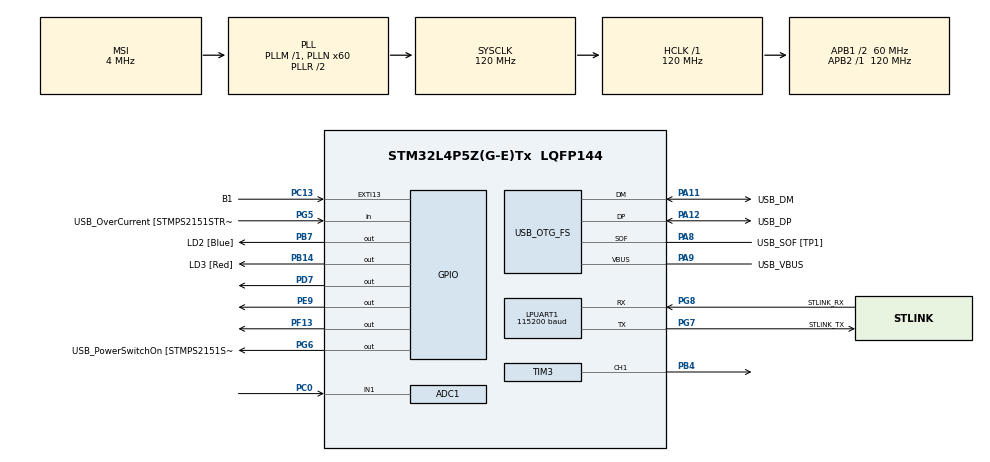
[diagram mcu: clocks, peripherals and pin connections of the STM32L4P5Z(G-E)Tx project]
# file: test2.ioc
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ADC1.Channel-0\#ChannelRegularConversion=ADC_CHANNEL_1
ADC1.NbrOfConversionFlag=1
ADC1.OffsetNumber-0\#ChannelRegularConversion=ADC_OFFSET_NONE
ADC1.Rank-0\#ChannelRegularConversion=1
ADC1.SamplingTime-0\#ChannelRegularConversion=ADC_SAMPLETIME_2CYCLES_5
ADC1.master=1
FREERTOS.Tasks01=Read_Temp,32,128,ReadTemp,Default,NULL,Dynamic,NULL,NULL;Control_Motor,24,128,ControlMotor,Default,NULL,Dynamic,NULL,NULL;Control_Temp,24,128,ControlTemp,Default,NULL,Dynamic,NULL,NULL
FREERTOS.configUSE_NEWLIB_REENTRANT=1
LPUART1.BaudRate=115200
LPUART1.WordLength=UART_WORDLENGTH_8B
Mcu.Family=STM32L4
Mcu.Name=STM32L4P5Z(G-E)Tx
Mcu.Package=LQFP144
NVIC.PriorityGroup=NVIC_PRIORITYGROUP_4
NVIC.TIM6_DAC_IRQn=true\:15\:0\:false\:false\:true\:false\:false\:true\:true
NVIC.TimeBase=TIM6_DAC_IRQn
NVIC.TimeBaseIP=TIM6
PA10.GPIO_Label=USB_ID
PA10.Signal=USB_OTG_FS_ID
PA11.GPIO_Label=USB_DM
PA11.Mode=Device_Only
PA11.Signal=USB_OTG_FS_DM
PA12.GPIO_Label=USB_DP
PA12.Mode=Device_Only
PA12.Signal=USB_OTG_FS_DP
PA13\ (JTMS/SWDIO).GPIO_Label=TMS
PA13\ (JTMS/SWDIO).Mode=Trace_Asynchronous_SW
PA13\ (JTMS/SWDIO).Signal=SYS_JTMS-SWDIO
PA14\ (JTCK/SWCLK).GPIO_Label=TCK
PA14\ (JTCK/SWCLK).Mode=Trace_Asynchronous_SW
PA14\ (JTCK/SWCLK).Signal=SYS_JTCK-SWCLK
PA8.GPIO_Label=USB_SOF [TP1]
PA8.Mode=Activate_SOF_FS
PA8.Signal=USB_OTG_FS_SOF
PA9.GPIO_Label=USB_VBUS
PA9.Mode=Activate_VBUS
PA9.Signal=USB_OTG_FS_VBUS
PB14.GPIO_Label=LD3 [Red]
PB14.Signal=GPIO_Output
PB3\ (JTDO/TRACESWO).GPIO_Label=SWO
PB3\ (JTDO/TRACESWO).Mode=Trace_Asynchronous_SW
PB3\ (JTDO/TRACESWO).Signal=SYS_JTDO-SWO
PB4\ (NJTRST).Signal=S_TIM3_CH1
PB7.GPIO_Label=LD2 [Blue]
PB7.Signal=GPIO_Output
PC0.Signal=ADCx_IN1
PC13.GPIO_Label=B1
PC13.Signal=GPXTI13
PC14-OSC32_IN\ (PC14).Mode=LSE-External-Oscillator
PC14-OSC32_IN\ (PC14).Signal=RCC_OSC32_IN
PC15-OSC32_OUT\ (PC15).Mode=LSE-External-Oscillator
PC15-OSC32_OUT\ (PC15).Signal=RCC_OSC32_OUT
PD7.Signal=GPIO_Output
PE9.Signal=GPIO_Output
PF13.Signal=GPIO_Output
PG5.GPIO_Label=USB_OverCurrent [STMPS2151STR_FAULT]
PG5.Signal=GPIO_Input
PG6.GPIO_Label=USB_PowerSwitchOn [STMPS2151STR_En]
PG6.Signal=GPIO_Output
PG7.GPIO_Label=STLINK_TX
PG7.Mode=Asynchronous
PG7.Signal=LPUART1_TX
PG8.GPIO_Label=STLINK_RX
PG8.Mode=Asynchronous
PG8.Signal=LPUART1_RX
PH0-OSC_IN\ (PH0).Mode=HSE-External-Clock-Source
PH0-OSC_IN\ (PH0).Signal=RCC_OSC_IN
PH1-OSC_OUT\ (PH1).Signal=RCC_OSC_OUT
ProjectManager.HeapSize=0x200
ProjectManager.StackSize=0x400
ProjectManager.TargetToolchain=STM32CubeIDE
RCC.48MHZClocksFreq_Value=24000000
RCC.ADCFreq_Value=48000000
RCC.AHBFreq_Value=120000000
RCC.APB1CLKDivider=RCC_HCLK_DIV2
RCC.APB1Freq_Value=60000000
RCC.APB1TimFreq_Value=120000000
RCC.APB2Freq_Value=120000000
RCC.APB2TimFreq_Value=120000000
RCC.CortexFreq_Value=120000000
RCC.HCLKFreq_Value=120000000
RCC.HSE_VALUE=8000000
RCC.HSI48_VALUE=48000000
RCC.HSI_VALUE=16000000
RCC.MSI_VALUE=4000000
RCC.PLLMUL=RCC_PLL_MUL9
RCC.PLLN=60
RCC.PLLSAI1N=24
RCC.PRESCALERUSB=RCC_USBCLKSOURCE_PLL_DIV1_5
RCC.SYSCLKFreq_VALUE=120000000
RCC.SYSCLKSource=RCC_SYSCLKSOURCE_PLLCLK
RCC.SYSCLKSourceVirtual=RCC_SYSCLKSOURCE_PLLCLK
RCC.USBFreq_Value=48000000
RCC.VCOOutputFreq_Value=240000000
SH.ADCx_IN1.0=ADC1_IN1,IN1-Single-Ended
SH.S_TIM3_CH1.0=TIM3_CH1,PWM Generation1 CH1
TIM3.Channel-PWM\ Generation1\ CH1=TIM_CHANNEL_1
TIM3.Period=99
TIM3.Prescaler=119
TIM4.Prescaler=119
USB_OTG_FS.VirtualMode=Device_Only
VP_FREERTOS_VS_CMSIS_V2.Mode=CMSIS_V2
VP_SYS_VS_tim6.Mode=TIM6
VP_TIM4_VS_ClockSourceINT.Mode=Internal
board=NUCLEO-L4P5ZG

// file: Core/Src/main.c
/* USER CODE BEGIN Header */
/**
  ******************************************************************************
  * @file           : main.c
  * @brief          : Main program body
  ******************************************************************************
  * @attention
  *
  * Copyright (c) 2022 STMicroelectronics.
  * All rights reserved.
  *
  * This software is licensed under terms that can be found in the LICENSE file
  * in the root directory of this software component.
  * If no LICENSE file comes with this software, it is provided AS-IS.
  *
  ******************************************************************************
  */
/* USER CODE END Header */
#include "main.h"
#include "cmsis_os.h"

ADC_HandleTypeDef hadc1;

UART_HandleTypeDef hlpuart1;

TIM_HandleTypeDef htim3;
TIM_HandleTypeDef htim4;

PCD_HandleTypeDef hpcd_USB_OTG_FS;

/* Definitions for Read_Temp */
osThreadId_t Read_TempHandle;
const osThreadAttr_t Read_Temp_attributes = {
  .name = "Read_Temp",
  .stack_size = 128 * 4,
  .priority = (osPriority_t) osPriorityAboveNormal,
};
/* Definitions for Control_Motor */
osThreadId_t Control_MotorHandle;
const osThreadAttr_t Control_Motor_attributes = {
  .name = "Control_Motor",
  .stack_size = 128 * 4,
  .priority = (osPriority_t) osPriorityNormal,
};
/* Definitions for Control_Temp */
osThreadId_t Control_TempHandle;
const osThreadAttr_t Control_Temp_attributes = {
  .name = "Control_Temp",
  .stack_size = 128 * 4,
  .priority = (osPriority_t) osPriorityNormal,
};
/* USER CODE BEGIN PV */
uint16_t raw;
double temp;
char msg[10];
/* USER CODE END PV */

void SystemClock_Config(void);
void PeriphCommonClock_Config(void);
static void MX_GPIO_Init(void);
static void MX_LPUART1_UART_Init(void);
static void MX_USB_OTG_FS_PCD_Init(void);
static void MX_ADC1_Init(void);
static void MX_TIM3_Init(void);
static void MX_TIM4_Init(void);
void ReadTemp(void *argument);
void ControlMotor(void *argument);
void ControlTemp(void *argument);

int main(void)
{

  /* MCU Configuration--------------------------------------------------------*/

  /* Reset of all peripherals, Initializes the Flash interface and the Systick. */
  HAL_Init();

  /* Configure the system clock */
  SystemClock_Config();

/* Configure the peripherals common clocks */
  PeriphCommonClock_Config();

  /* Initialize all configured peripherals */
  MX_GPIO_Init();
  MX_LPUART1_UART_Init();
  MX_USB_OTG_FS_PCD_Init();
  MX_ADC1_Init();
  MX_TIM3_Init();
  MX_TIM4_Init();
  /* USER CODE BEGIN 2 */
  HAL_TIM_PWM_Start(&htim4, TIM_CHANNEL_1);
  HAL_TIM_PWM_Start(&htim3, TIM_CHANNEL_1);
  /* USER CODE END 2 */

  /* Init scheduler */
  osKernelInitialize();

  /* Create the thread(s) */
  /* creation of Read_Temp */
  Read_TempHandle = osThreadNew(ReadTemp, NULL, &Read_Temp_attributes);

  /* creation of Control_Motor */
  Control_MotorHandle = osThreadNew(ControlMotor, NULL, &Control_Motor_attributes);

  /* creation of Control_Temp */
  Control_TempHandle = osThreadNew(ControlTemp, NULL, &Control_Temp_attributes);

  /* Start scheduler */
  osKernelStart();

  /* We should never get here as control is now taken by the scheduler */
  /* Infinite loop */
  /* USER CODE BEGIN WHILE */
	while (1)
	{
		HAL_GPIO_TogglePin(GPIOB, GPIO_PIN_14);
		HAL_Delay(100);
		 double val, resistance, A,B,C;
			  A = 0.000732;
			  B = 0.000214;
			  C = 1.07E-07;
			  HAL_ADC_Start(&hadc1);
				HAL_ADC_PollForConversion(&hadc1, HAL_MAX_DELAY);
				raw = HAL_ADC_GetValue(&hadc1);
				val= (3.3/4096)*raw;
				resistance = val/((3.3-val)/100000);
				temp = 1/(A+B*log(resistance)+C*pow(log(resistance),3))-272.15;
				sprintf(msg, "% hu, %f , %f\r\n", raw, temp, resistance);
						HAL_UART_Transmit(&hlpuart1, (uint8_t*)msg, strlen(msg), HAL_MAX_DELAY);
		/* Infinite loop */

		//

    /* USER CODE END WHILE */

  }
}

void SystemClock_Config(void)
{
  RCC_OscInitTypeDef RCC_OscInitStruct = {0};
  RCC_ClkInitTypeDef RCC_ClkInitStruct = {0};

  /** Configure the main internal regulator output voltage
  */
  if (HAL_PWREx_ControlVoltageScaling(PWR_REGULATOR_VOLTAGE_SCALE1_BOOST) != HAL_OK)
  {
    Error_Handler();
  }

  /** Configure LSE Drive Capability
  */
  HAL_PWR_EnableBkUpAccess();
  __HAL_RCC_LSEDRIVE_CONFIG(RCC_LSEDRIVE_LOW);

  /** Initializes the RCC Oscillators according to the specified parameters
  * in the RCC_OscInitTypeDef structure.
  */
  RCC_OscInitStruct.OscillatorType = RCC_OSCILLATORTYPE_LSE|RCC_OSCILLATORTYPE_MSI;
  RCC_OscInitStruct.LSEState = RCC_LSE_ON;
  RCC_OscInitStruct.MSIState = RCC_MSI_ON;
  RCC_OscInitStruct.MSICalibrationValue = 0;
  RCC_OscInitStruct.MSIClockRange = RCC_MSIRANGE_6;
  RCC_OscInitStruct.PLL.PLLState = RCC_PLL_ON;
  RCC_OscInitStruct.PLL.PLLSource = RCC_PLLSOURCE_MSI;
  RCC_OscInitStruct.PLL.PLLM = 1;
  RCC_OscInitStruct.PLL.PLLN = 60;
  RCC_OscInitStruct.PLL.PLLP = RCC_PLLP_DIV2;
  RCC_OscInitStruct.PLL.PLLQ = RCC_PLLQ_DIV2;
  RCC_OscInitStruct.PLL.PLLR = RCC_PLLR_DIV2;
  if (HAL_RCC_OscConfig(&RCC_OscInitStruct) != HAL_OK)
  {
    Error_Handler();
  }

  /** Initializes the CPU, AHB and APB buses clocks
  */
  RCC_ClkInitStruct.ClockType = RCC_CLOCKTYPE_HCLK|RCC_CLOCKTYPE_SYSCLK
                              |RCC_CLOCKTYPE_PCLK1|RCC_CLOCKTYPE_PCLK2;
  RCC_ClkInitStruct.SYSCLKSource = RCC_SYSCLKSOURCE_PLLCLK;
  RCC_ClkInitStruct.AHBCLKDivider = RCC_SYSCLK_DIV1;
  RCC_ClkInitStruct.APB1CLKDivider = RCC_HCLK_DIV2;
  RCC_ClkInitStruct.APB2CLKDivider = RCC_HCLK_DIV1;

  if (HAL_RCC_ClockConfig(&RCC_ClkInitStruct, FLASH_LATENCY_5) != HAL_OK)
  {
    Error_Handler();
  }

  /** Enable MSI Auto calibration
  */
  HAL_RCCEx_EnableMSIPLLMode();
}

void PeriphCommonClock_Config(void)
{
  RCC_PeriphCLKInitTypeDef PeriphClkInit = {0};

  /** Initializes the peripherals clock
  */
  PeriphClkInit.PeriphClockSelection = RCC_PERIPHCLK_USB|RCC_PERIPHCLK_ADC;
  PeriphClkInit.AdcClockSelection = RCC_ADCCLKSOURCE_PLLSAI1;
  PeriphClkInit.UsbClockSelection = RCC_USBCLKSOURCE_PLLSAI1;
  PeriphClkInit.PLLSAI1.PLLSAI1Source = RCC_PLLSOURCE_MSI;
  PeriphClkInit.PLLSAI1.PLLSAI1M = 1;
  PeriphClkInit.PLLSAI1.PLLSAI1N = 24;
  PeriphClkInit.PLLSAI1.PLLSAI1P = RCC_PLLP_DIV2;
  PeriphClkInit.PLLSAI1.PLLSAI1Q = RCC_PLLQ_DIV2;
  PeriphClkInit.PLLSAI1.PLLSAI1R = RCC_PLLR_DIV2;
  PeriphClkInit.PLLSAI1.PLLSAI1ClockOut = RCC_PLLSAI1_48M2CLK|RCC_PLLSAI1_ADC1CLK;
  if (HAL_RCCEx_PeriphCLKConfig(&PeriphClkInit) != HAL_OK)
  {
    Error_Handler();
  }
}

static void MX_ADC1_Init(void)
{

  ADC_MultiModeTypeDef multimode = {0};
  ADC_ChannelConfTypeDef sConfig = {0};

  /** Common config
  */
  hadc1.Instance = ADC1;
  hadc1.Init.ClockPrescaler = ADC_CLOCK_ASYNC_DIV1;
  hadc1.Init.Resolution = ADC_RESOLUTION_12B;
  hadc1.Init.DataAlign = ADC_DATAALIGN_RIGHT;
  hadc1.Init.ScanConvMode = ADC_SCAN_DISABLE;
  hadc1.Init.EOCSelection = ADC_EOC_SINGLE_CONV;
  hadc1.Init.LowPowerAutoWait = DISABLE;
  hadc1.Init.ContinuousConvMode = DISABLE;
  hadc1.Init.NbrOfConversion = 1;
  hadc1.Init.DiscontinuousConvMode = DISABLE;
  hadc1.Init.ExternalTrigConv = ADC_SOFTWARE_START;
  hadc1.Init.ExternalTrigConvEdge = ADC_EXTERNALTRIGCONVEDGE_NONE;
  hadc1.Init.DMAContinuousRequests = DISABLE;
  hadc1.Init.Overrun = ADC_OVR_DATA_PRESERVED;
  hadc1.Init.OversamplingMode = DISABLE;
  if (HAL_ADC_Init(&hadc1) != HAL_OK)
  {
    Error_Handler();
  }

  /** Configure the ADC multi-mode
  */
  multimode.Mode = ADC_MODE_INDEPENDENT;
  if (HAL_ADCEx_MultiModeConfigChannel(&hadc1, &multimode) != HAL_OK)
  {
    Error_Handler();
  }

  /** Configure Regular Channel
  */
  sConfig.Channel = ADC_CHANNEL_1;
  sConfig.Rank = ADC_REGULAR_RANK_1;
  sConfig.SamplingTime = ADC_SAMPLETIME_2CYCLES_5;
  sConfig.SingleDiff = ADC_SINGLE_ENDED;
  sConfig.OffsetNumber = ADC_OFFSET_NONE;
  sConfig.Offset = 0;
  if (HAL_ADC_ConfigChannel(&hadc1, &sConfig) != HAL_OK)
  {
    Error_Handler();
  }

}

static void MX_LPUART1_UART_Init(void)
{

  hlpuart1.Instance = LPUART1;
  hlpuart1.Init.BaudRate = 115200;
  hlpuart1.Init.WordLength = UART_WORDLENGTH_8B;
  hlpuart1.Init.StopBits = UART_STOPBITS_1;
  hlpuart1.Init.Parity = UART_PARITY_NONE;
  hlpuart1.Init.Mode = UART_MODE_TX_RX;
  hlpuart1.Init.HwFlowCtl = UART_HWCONTROL_NONE;
  hlpuart1.Init.OneBitSampling = UART_ONE_BIT_SAMPLE_DISABLE;
  hlpuart1.Init.ClockPrescaler = UART_PRESCALER_DIV1;
  hlpuart1.AdvancedInit.AdvFeatureInit = UART_ADVFEATURE_NO_INIT;
  hlpuart1.FifoMode = UART_FIFOMODE_DISABLE;
  if (HAL_UART_Init(&hlpuart1) != HAL_OK)
  {
    Error_Handler();
  }
  if (HAL_UARTEx_SetTxFifoThreshold(&hlpuart1, UART_TXFIFO_THRESHOLD_1_8) != HAL_OK)
  {
    Error_Handler();
  }
  if (HAL_UARTEx_SetRxFifoThreshold(&hlpuart1, UART_RXFIFO_THRESHOLD_1_8) != HAL_OK)
  {
    Error_Handler();
  }
  if (HAL_UARTEx_DisableFifoMode(&hlpuart1) != HAL_OK)
  {
    Error_Handler();
  }

}

static void MX_TIM3_Init(void)
{

  TIM_MasterConfigTypeDef sMasterConfig = {0};
  TIM_OC_InitTypeDef sConfigOC = {0};

  htim3.Instance = TIM3;
  htim3.Init.Prescaler = 119;
  htim3.Init.CounterMode = TIM_COUNTERMODE_UP;
  htim3.Init.Period = 99;
  htim3.Init.ClockDivision = TIM_CLOCKDIVISION_DIV1;
  htim3.Init.AutoReloadPreload = TIM_AUTORELOAD_PRELOAD_DISABLE;
  if (HAL_TIM_PWM_Init(&htim3) != HAL_OK)
  {
    Error_Handler();
  }
  sMasterConfig.MasterOutputTrigger = TIM_TRGO_RESET;
  sMasterConfig.MasterSlaveMode = TIM_MASTERSLAVEMODE_DISABLE;
  if (HAL_TIMEx_MasterConfigSynchronization(&htim3, &sMasterConfig) != HAL_OK)
  {
    Error_Handler();
  }
  sConfigOC.OCMode = TIM_OCMODE_PWM1;
  sConfigOC.Pulse = 0;
  sConfigOC.OCPolarity = TIM_OCPOLARITY_HIGH;
  sConfigOC.OCFastMode = TIM_OCFAST_DISABLE;
  if (HAL_TIM_PWM_ConfigChannel(&htim3, &sConfigOC, TIM_CHANNEL_1) != HAL_OK)
  {
    Error_Handler();
  }
  HAL_TIM_MspPostInit(&htim3);

}

static void MX_TIM4_Init(void)
{

  TIM_ClockConfigTypeDef sClockSourceConfig = {0};
  TIM_MasterConfigTypeDef sMasterConfig = {0};

  htim4.Instance = TIM4;
  htim4.Init.Prescaler = 119;
  htim4.Init.CounterMode = TIM_COUNTERMODE_UP;
  htim4.Init.Period = 65535;
  htim4.Init.ClockDivision = TIM_CLOCKDIVISION_DIV1;
  htim4.Init.AutoReloadPreload = TIM_AUTORELOAD_PRELOAD_DISABLE;
  if (HAL_TIM_Base_Init(&htim4) != HAL_OK)
  {
    Error_Handler();
  }
  sClockSourceConfig.ClockSource = TIM_CLOCKSOURCE_INTERNAL;
  if (HAL_TIM_ConfigClockSource(&htim4, &sClockSourceConfig) != HAL_OK)
  {
    Error_Handler();
  }
  sMasterConfig.MasterOutputTrigger = TIM_TRGO_RESET;
  sMasterConfig.MasterSlaveMode = TIM_MASTERSLAVEMODE_DISABLE;
  if (HAL_TIMEx_MasterConfigSynchronization(&htim4, &sMasterConfig) != HAL_OK)
  {
    Error_Handler();
  }

}

static void MX_USB_OTG_FS_PCD_Init(void)
{

  hpcd_USB_OTG_FS.Instance = USB_OTG_FS;
  hpcd_USB_OTG_FS.Init.dev_endpoints = 6;
  hpcd_USB_OTG_FS.Init.phy_itface = PCD_PHY_EMBEDDED;
  hpcd_USB_OTG_FS.Init.Sof_enable = ENABLE;
  hpcd_USB_OTG_FS.Init.low_power_enable = DISABLE;
  hpcd_USB_OTG_FS.Init.lpm_enable = DISABLE;
  hpcd_USB_OTG_FS.Init.battery_charging_enable = ENABLE;
  hpcd_USB_OTG_FS.Init.use_dedicated_ep1 = DISABLE;
  hpcd_USB_OTG_FS.Init.vbus_sensing_enable = ENABLE;
  if (HAL_PCD_Init(&hpcd_USB_OTG_FS) != HAL_OK)
  {
    Error_Handler();
  }

}

static void MX_GPIO_Init(void)
{
  GPIO_InitTypeDef GPIO_InitStruct = {0};

  /* GPIO Ports Clock Enable */
  __HAL_RCC_GPIOC_CLK_ENABLE();
  __HAL_RCC_GPIOH_CLK_ENABLE();
  __HAL_RCC_GPIOF_CLK_ENABLE();
  __HAL_RCC_GPIOE_CLK_ENABLE();
  __HAL_RCC_GPIOB_CLK_ENABLE();
  __HAL_RCC_GPIOG_CLK_ENABLE();
  HAL_PWREx_EnableVddIO2();
  __HAL_RCC_GPIOA_CLK_ENABLE();
  __HAL_RCC_GPIOD_CLK_ENABLE();

  /*Configure GPIO pin Output Level */
  HAL_GPIO_WritePin(GPIOF, GPIO_PIN_13, GPIO_PIN_RESET);

  /*Configure GPIO pin Output Level */
  HAL_GPIO_WritePin(GPIOE, GPIO_PIN_9, GPIO_PIN_RESET);

  /*Configure GPIO pin Output Level */
  HAL_GPIO_WritePin(GPIOB, LD3_Pin|LD2_Pin, GPIO_PIN_RESET);

  /*Configure GPIO pin Output Level */
  HAL_GPIO_WritePin(USB_PowerSwitchOn_GPIO_Port, USB_PowerSwitchOn_Pin, GPIO_PIN_RESET);

  /*Configure GPIO pin Output Level */
  HAL_GPIO_WritePin(GPIOD, GPIO_PIN_7, GPIO_PIN_RESET);

  /*Configure GPIO pin : B1_Pin */
  GPIO_InitStruct.Pin = B1_Pin;
  GPIO_InitStruct.Mode = GPIO_MODE_IT_RISING;
  GPIO_InitStruct.Pull = GPIO_NOPULL;
  HAL_GPIO_Init(B1_GPIO_Port, &GPIO_InitStruct);

  /*Configure GPIO pin : PF13 */
  GPIO_InitStruct.Pin = GPIO_PIN_13;
  GPIO_InitStruct.Mode = GPIO_MODE_OUTPUT_PP;
  GPIO_InitStruct.Pull = GPIO_NOPULL;
  GPIO_InitStruct.Speed = GPIO_SPEED_FREQ_LOW;
  HAL_GPIO_Init(GPIOF, &GPIO_InitStruct);

  /*Configure GPIO pin : PE9 */
  GPIO_InitStruct.Pin = GPIO_PIN_9;
  GPIO_InitStruct.Mode = GPIO_MODE_OUTPUT_PP;
  GPIO_InitStruct.Pull = GPIO_NOPULL;
  GPIO_InitStruct.Speed = GPIO_SPEED_FREQ_LOW;
  HAL_GPIO_Init(GPIOE, &GPIO_InitStruct);

  /*Configure GPIO pins : LD3_Pin LD2_Pin */
  GPIO_InitStruct.Pin = LD3_Pin|LD2_Pin;
  GPIO_InitStruct.Mode = GPIO_MODE_OUTPUT_PP;
  GPIO_InitStruct.Pull = GPIO_NOPULL;
  GPIO_InitStruct.Speed = GPIO_SPEED_FREQ_LOW;
  HAL_GPIO_Init(GPIOB, &GPIO_InitStruct);

  /*Configure GPIO pin : USB_OverCurrent_Pin */
  GPIO_InitStruct.Pin = USB_OverCurrent_Pin;
  GPIO_InitStruct.Mode = GPIO_MODE_INPUT;
  GPIO_InitStruct.Pull = GPIO_NOPULL;
  HAL_GPIO_Init(USB_OverCurrent_GPIO_Port, &GPIO_InitStruct);

  /*Configure GPIO pin : USB_PowerSwitchOn_Pin */
  GPIO_InitStruct.Pin = USB_PowerSwitchOn_Pin;
  GPIO_InitStruct.Mode = GPIO_MODE_OUTPUT_PP;
  GPIO_InitStruct.Pull = GPIO_NOPULL;
  GPIO_InitStruct.Speed = GPIO_SPEED_FREQ_LOW;
  HAL_GPIO_Init(USB_PowerSwitchOn_GPIO_Port, &GPIO_InitStruct);

  /*Configure GPIO pin : PD7 */
  GPIO_InitStruct.Pin = GPIO_PIN_7;
  GPIO_InitStruct.Mode = GPIO_MODE_OUTPUT_PP;
  GPIO_InitStruct.Pull = GPIO_NOPULL;
  GPIO_InitStruct.Speed = GPIO_SPEED_FREQ_LOW;
  HAL_GPIO_Init(GPIOD, &GPIO_InitStruct);

}

void ReadTemp(void *argument)
{
  /* USER CODE BEGIN 5 */
  /* Infinite loop */
  for(;;)
  {
	 /* double val, resistance, A,B,C;
	  A = 0.000732;
	  B = 0.000214;
	  C = 1.07E-07;
	  HAL_ADC_Start(&hadc1);
		HAL_ADC_PollForConversion(&hadc1, HAL_MAX_DELAY);
		raw = HAL_ADC_GetValue(&hadc1);
		val= (3.3/4096)*raw;
		resistance = val/((3.3-val)/100000);
		temp = 1/(A+B*log(resistance)+C*pow(log(resistance),3))-272.15;
		sprintf(msg, "% hu, %f , %f\r\n", raw, temp, resistance);
				HAL_UART_Transmit(&hlpuart1, (uint8_t*)msg, strlen(msg), HAL_MAX_DELAY);*/
    osDelay(1);
  }
  /* USER CODE END 5 */
}

void ControlMotor(void *argument)
{
  /* USER CODE BEGIN ControlMotor */
  /* Infinite loop */
  for(;;)
  {
	/*  if(HAL_GPIO_ReadPin(GPIOC, GPIO_PIN_13) == 1)
	  {
	  HAL_GPIO_WritePin(GPIOF, GPIO_PIN_13, 0);
	//tv = __HAL_TIM_GET_COUNTER(&htim4);
	  HAL_GPIO_TogglePin(GPIOE, GPIO_PIN_9);
	__HAL_TIM_SET_COUNTER(&htim4,0);  // set the counter value a 0
	while (__HAL_TIM_GET_COUNTER(&htim4) < 300);
	  }*/
    osDelay(1);
  }
  /* USER CODE END ControlMotor */
}

void ControlTemp(void *argument)
{
  /* USER CODE BEGIN ControlTemp */
  /* Infinite loop */
  for(;;)
  {
	/*  double temp_tres = 240;
	if(temp < temp_tres - 40)
	{
		TIM3->CCR1 = 70;
		HAL_GPIO_WritePin(GPIOD, GPIO_PIN_7, 0);
		//HAL_TIM_PWM_Start(&htim3, TIM_CHANNEL_1);
	}
	else if(temp < temp_tres)
	{
	TIM3->CCR1 = 30;
	HAL_GPIO_WritePin(GPIOD, GPIO_PIN_7, 0);
	//HAL_TIM_PWM_Start(&htim3, TIM_CHANNEL_1);
	//HAL_UART_Transmit(&hlpuart1, (uint8_t*)msg, strlen(msg), HAL_MAX_DELAY);
	}
	else
	{
		TIM3->CCR1 = 0;
		HAL_GPIO_WritePin(GPIOD, GPIO_PIN_7, 1);
	}*/
    osDelay(1);
  }
  /* USER CODE END ControlTemp */
}

void HAL_TIM_PeriodElapsedCallback(TIM_HandleTypeDef *htim)
{
  if (htim->Instance == TIM6) {
    HAL_IncTick();
  }
}

void Error_Handler(void)
{
  __disable_irq();
  while (1)
  {
  }
}
